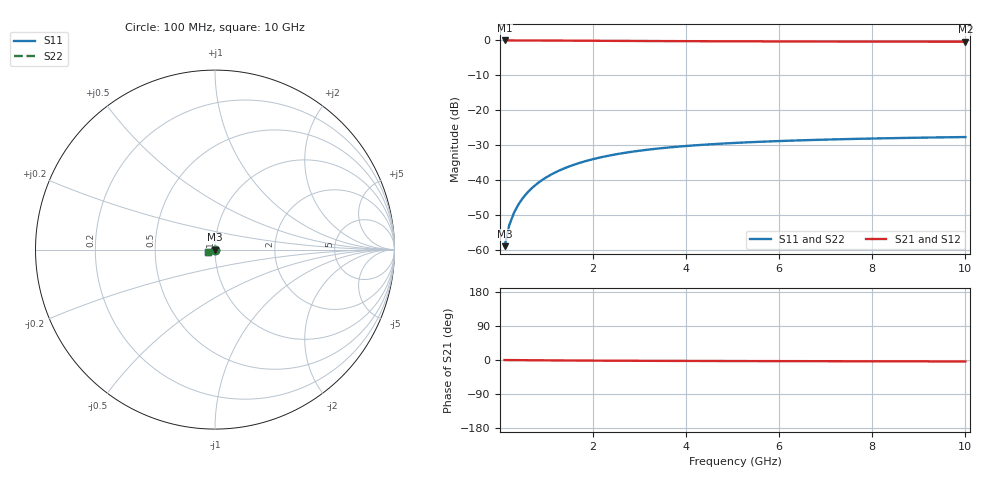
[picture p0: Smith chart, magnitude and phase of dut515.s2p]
! Touchstone file exported from HFSS 2024.1.0
!  File:  C:/UserFiles/LocalFiles/RDL_TSV_Batchsim/temp_TSV1_515_1779702781.aedt
!  Generated:  05:58:01 PM May 25, 2026
!  Design:  TSV1
!  Project:  temp_TSV1_515_1779702781
!  Setup:  Setup1
!  Solution:  Sweep
! Variables:
!  dtsv = 13.03um
!  hbump = 3um
!  htsv = 56.73um
!  lrdl = 252.1521522um
!  p = 40
!  p1 = 46.84um
!  t = 500um
!  trdl = 3um
!  wrdl = 24.89489489um
# GHz S MA R 50.000000
! Terminal data exported
! Port[1] = TSV22_T1
! Port[2] = TSV22_T2
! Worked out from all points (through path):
!   100 points, 100 MHz to 10 GHz, reference 50 ohm
!   highest |S21| = 0.00 dB at 100 MHz (marker M1); lowest = -0.4 dB at 10 GHz (marker M2)
!   lowest |S11| = -58.8 dB at 100 MHz (marker M3), VSWR 1.00, Z = 50 - j0.115 ohm
!   |S11| at or under -10 dB: start of sweep to end of sweep
!   |S22| runs from -58.8 to -27.6 dB; largest |S21 - S12| = 2e-15
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0.1  0.001152 -88.0  0.9999 -0.1  0.9999 -0.1  0.001152 -88.0
! Gamma 0 0 0 0
! Port Impedance 50 0 50 0
0.2  0.002299 -91.5  0.9998 -0.2  0.9998 -0.2  0.002299 -91.5
0.3  0.003444 -93.8  0.9996 -0.3  0.9996 -0.3  0.003444 -93.8
0.4  0.004583 -95.7  0.9994 -0.4  0.9994 -0.4  0.004583 -95.7
0.5  0.005712 -97.5  0.9991 -0.5  0.9991 -0.5  0.005712 -97.5
0.6  0.00683 -99.2  0.9987 -0.6  0.9987 -0.6  0.00683 -99.2
0.7  0.007932 -100.9  0.9983 -0.7  0.9983 -0.7  0.007932 -100.9
0.8  0.009017 -102.5  0.9978 -0.8  0.9978 -0.8  0.009017 -102.5
0.9  0.01008 -104.1  0.9973 -0.9  0.9973 -0.9  0.01008 -104.1
1.1  0.01215 -107.1  0.9962 -1.0  0.9962 -1.0  0.01215 -107.1
1.4  0.01506 -111.4  0.9942 -1.3  0.9942 -1.3  0.01506 -111.4
1.6  0.01687 -114.2  0.9928 -1.4  0.9928 -1.4  0.01687 -114.2
1.8  0.01857 -116.8  0.9913 -1.5  0.9913 -1.5  0.01857 -116.8
2.1  0.02092 -120.5  0.9891 -1.7  0.9891 -1.7  0.02092 -120.5
2.5  0.02368 -124.9  0.9862 -1.9  0.9862 -1.9  0.02368 -124.9
2.9  0.02607 -128.9  0.9835 -2.1  0.9835 -2.1  0.02607 -128.9
3.4  0.02859 -133.4  0.9803 -2.3  0.9803 -2.3  0.02859 -133.4
4.2  0.03179 -139.3  0.9758 -2.5  0.9758 -2.5  0.03179 -139.3
5.1  0.0345 -144.8  0.9717 -2.8  0.9717 -2.8  0.0345 -144.7
6.7  0.03785 -152.1  0.9662 -3.1  0.9662 -3.1  0.03785 -152.1
8.4  0.04019 -158.1  0.9623 -3.5  0.9623 -3.5  0.04019 -158.1
10  0.0417 -162.5  0.9597 -3.9  0.9597 -3.9  0.0417 -162.5
